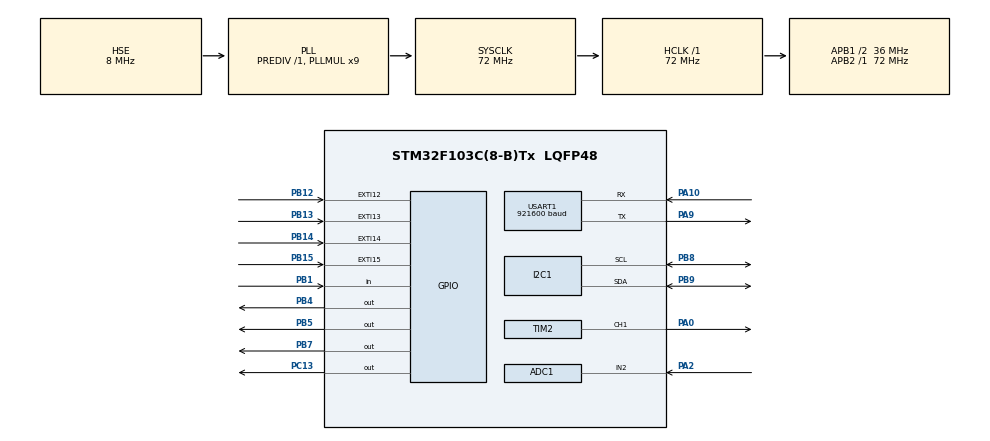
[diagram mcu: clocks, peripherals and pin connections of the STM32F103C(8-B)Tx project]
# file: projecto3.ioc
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ADC1.Channel-2\#ChannelRegularConversion=ADC_CHANNEL_2
ADC1.ContinuousConvMode=DISABLE
ADC1.NbrOfConversionFlag=1
ADC1.Rank-2\#ChannelRegularConversion=1
ADC1.SamplingTime-2\#ChannelRegularConversion=ADC_SAMPLETIME_1CYCLE_5
ADC1.master=1
Dma.Request0=TIM2_CH1
Dma.TIM2_CH1.0.Direction=DMA_MEMORY_TO_PERIPH
Dma.TIM2_CH1.0.Instance=DMA1_Channel5
Dma.TIM2_CH1.0.MemDataAlignment=DMA_MDATAALIGN_HALFWORD
Dma.TIM2_CH1.0.MemInc=DMA_MINC_ENABLE
Dma.TIM2_CH1.0.Mode=DMA_CIRCULAR
Dma.TIM2_CH1.0.PeriphDataAlignment=DMA_PDATAALIGN_HALFWORD
Dma.TIM2_CH1.0.PeriphInc=DMA_PINC_DISABLE
Dma.TIM2_CH1.0.Priority=DMA_PRIORITY_MEDIUM
FREERTOS.Mutexes01=fftRead,Dynamic,NULL,Available;adcSave,Dynamic,NULL,Available
FREERTOS.Queues01=switchesData,5,switch_values_t,0,Dynamic,NULL,NULL
FREERTOS.Tasks01=display,8,203,entryDisplay,Default,NULL,Dynamic,NULL,NULL;fft,24,277,entryDatos,Default,NULL,Dynamic,NULL,NULL
FREERTOS.configTOTAL_HEAP_SIZE=2937
FREERTOS.configUSE_APPLICATION_TASK_TAG=1
FREERTOS.configUSE_IDLE_HOOK=1
FREERTOS.configUSE_NEWLIB_REENTRANT=1
I2C1.I2C_Mode=I2C_Fast
Mcu.Family=STM32F1
Mcu.Name=STM32F103C(8-B)Tx
Mcu.Package=LQFP48
NVIC.DMA1_Channel5_IRQn=true\:5\:0\:false\:false\:true\:true\:false\:true\:true
NVIC.EXTI15_10_IRQn=true\:6\:0\:true\:false\:true\:true\:true\:true\:true
NVIC.PriorityGroup=NVIC_PRIORITYGROUP_4
NVIC.TIM3_IRQn=true\:5\:0\:false\:false\:true\:true\:true\:true\:true
NVIC.TIM4_IRQn=true\:15\:0\:false\:false\:true\:false\:false\:true\:true
NVIC.TimeBase=TIM4_IRQn
NVIC.TimeBaseIP=TIM4
PA0-WKUP.Signal=S_TIM2_CH1_ETR
PA10.Mode=Asynchronous
PA10.Signal=USART1_RX
PA13.Mode=Serial_Wire
PA13.Signal=SYS_JTMS-SWDIO
PA14.Mode=Serial_Wire
PA14.Signal=SYS_JTCK-SWCLK
PA2.Signal=ADCx_IN2
PA9.Mode=Asynchronous
PA9.Signal=USART1_TX
PB1.GPIO_PuPd=GPIO_PULLUP
PB1.Signal=GPIO_Input
PB12.GPIO_ModeDefaultEXTI=GPIO_MODE_IT_RISING_FALLING
PB12.GPIO_PuPd=GPIO_PULLUP
PB12.Signal=GPXTI12
PB13.GPIO_ModeDefaultEXTI=GPIO_MODE_IT_RISING_FALLING
PB13.GPIO_PuPd=GPIO_PULLUP
PB13.Signal=GPXTI13
PB14.GPIO_ModeDefaultEXTI=GPIO_MODE_IT_RISING_FALLING
PB14.GPIO_PuPd=GPIO_PULLUP
PB14.Signal=GPXTI14
PB15.GPIO_ModeDefaultEXTI=GPIO_MODE_IT_RISING_FALLING
PB15.GPIO_PuPd=GPIO_PULLUP
PB15.Signal=GPXTI15
PB4.Signal=GPIO_Output
PB5.Signal=GPIO_Output
PB7.Signal=GPIO_Output
PB8.Mode=I2C
PB8.Signal=I2C1_SCL
PB9.Mode=I2C
PB9.Signal=I2C1_SDA
PC13-TAMPER-RTC.PinState=GPIO_PIN_SET
PC13-TAMPER-RTC.Signal=GPIO_Output
PD0-OSC_IN.Mode=HSE-External-Oscillator
PD0-OSC_IN.Signal=RCC_OSC_IN
PD1-OSC_OUT.Mode=HSE-External-Oscillator
PD1-OSC_OUT.Signal=RCC_OSC_OUT
ProjectManager.HeapSize=0x200
ProjectManager.StackSize=0x400
ProjectManager.TargetToolchain=STM32CubeIDE
RCC.ADCPresc=RCC_ADCPCLK2_DIV6
RCC.AHBFreq_Value=72000000
RCC.APB1CLKDivider=RCC_HCLK_DIV2
RCC.APB1Freq_Value=36000000
RCC.APB1TimFreq_Value=72000000
RCC.APB2Freq_Value=72000000
RCC.APB2TimFreq_Value=72000000
RCC.HCLKFreq_Value=72000000
RCC.PLLMUL=RCC_PLL_MUL9
RCC.PLLSourceVirtual=RCC_PLLSOURCE_HSE
RCC.SYSCLKFreq_VALUE=72000000
RCC.SYSCLKSource=RCC_SYSCLKSOURCE_PLLCLK
RCC.USBFreq_Value=72000000
SH.ADCx_IN2.0=ADC1_IN2,IN2
SH.S_TIM2_CH1_ETR.0=TIM2_CH1,PWM Generation1 CH1
TIM2.AutoReloadPreload=TIM_AUTORELOAD_PRELOAD_ENABLE
TIM2.Channel-PWM\ Generation1\ CH1=TIM_CHANNEL_1
TIM2.Period=2880-1
TIM2.Pulse-PWM\ Generation1\ CH1=10
TIM3.AutoReloadPreload=TIM_AUTORELOAD_PRELOAD_ENABLE
TIM3.Period=999
TIM3.Prescaler=71
USART1.BaudRate=921600
USART1.Mode=MODE_TX
USART1.VirtualMode=VM_ASYNC
VP_FREERTOS_VS_CMSIS_V2.Mode=CMSIS_V2
VP_SYS_VS_tim4.Mode=TIM4
VP_TIM2_VS_ClockSourceINT.Mode=Internal
VP_TIM3_VS_ClockSourceINT.Mode=Internal
board=custom

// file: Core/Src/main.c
/* USER CODE BEGIN Header */
/**
 ******************************************************************************
 * @file           : main.c
 * @brief          : Main program body
 ******************************************************************************
 * @attention
 *
 * Copyright (c) 2024 STMicroelectronics.
 * All rights reserved.
 *
 * This software is licensed under terms that can be found in the LICENSE file
 * in the root directory of this software component.
 * If no LICENSE file comes with this software, it is provided AS-IS.
 *
 ******************************************************************************
 */
/* USER CODE END Header */
#include "main.h"
#include "cmsis_os.h"

/* USER CODE BEGIN Includes */
#include "encoder.h"
#include "math.h"
#include "pwm.h"
#include "fft.h"
#include "fonts.h"
#include "ssd1306.h"
#include "display_analizador.h"
/* USER CODE END Includes */

ADC_HandleTypeDef hadc1;

I2C_HandleTypeDef hi2c1;

TIM_HandleTypeDef htim2;
TIM_HandleTypeDef htim3;
DMA_HandleTypeDef hdma_tim2_ch1;

UART_HandleTypeDef huart1;

/* Definitions for display */
osThreadId_t displayHandle;
const osThreadAttr_t display_attributes = {
  .name = "display",
  .stack_size = 203 * 4,
  .priority = (osPriority_t) osPriorityLow,
};
/* Definitions for fft */
osThreadId_t fftHandle;
const osThreadAttr_t fft_attributes = {
  .name = "fft",
  .stack_size = 277 * 4,
  .priority = (osPriority_t) osPriorityNormal,
};
/* Definitions for switchesData */
osMessageQueueId_t switchesDataHandle;
const osMessageQueueAttr_t switchesData_attributes = {
  .name = "switchesData"
};
/* Definitions for fftRead */
osMutexId_t fftReadHandle;
const osMutexAttr_t fftRead_attributes = {
  .name = "fftRead"
};
/* Definitions for adcSave */
osMutexId_t adcSaveHandle;
const osMutexAttr_t adcSave_attributes = {
  .name = "adcSave"
};
/* USER CODE BEGIN PV */
uint16_t adc_data[256];
uint16_t count = 0;
/* USER CODE END PV */

void SystemClock_Config(void);
static void MX_GPIO_Init(void);
static void MX_DMA_Init(void);
static void MX_TIM2_Init(void);
static void MX_ADC1_Init(void);
static void MX_I2C1_Init(void);
static void MX_TIM3_Init(void);
static void MX_USART1_UART_Init(void);
void entryDisplay(void *argument);
void entryDatos(void *argument);

/* USER CODE BEGIN PFP */
void
AE_callback_in (int);
void
AE_callback_out (int);
/* USER CODE END PFP */

int main(void)
{

  /* MCU Configuration--------------------------------------------------------*/

  /* Reset of all peripherals, Initializes the Flash interface and the Systick. */
  HAL_Init();

  /* Configure the system clock */
  SystemClock_Config();

  /* Initialize all configured peripherals */
  MX_GPIO_Init();
  MX_DMA_Init();
  MX_TIM2_Init();
  MX_ADC1_Init();
  MX_I2C1_Init();
  MX_TIM3_Init();
  MX_USART1_UART_Init();
  /* USER CODE BEGIN 2 */
  SSD1306_Init ();
  PWM_init (&htim2, TIM_CHANNEL_1);

  PWM_change_freq_dma (500, 1);
  switch_values_t temp =
    { AN_inputs_reader ().button_encoder.value,
	AN_inputs_reader ().button_sec.value };
  AN_graph_control (temp, 1);
  SSD1306_UpdateScreen ();
  AN_init (&huart1);
  HAL_GPIO_TogglePin (GPIOC, GPIO_PIN_13);
  AN_send_uart ();
  HAL_GPIO_TogglePin (GPIOC, GPIO_PIN_13);
  /* USER CODE END 2 */

  /* Init scheduler */
  osKernelInitialize();
  /* Create the mutex(es) */
  /* creation of fftRead */
  fftReadHandle = osMutexNew(&fftRead_attributes);

  /* creation of adcSave */
  adcSaveHandle = osMutexNew(&adcSave_attributes);

  /* Create the queue(s) */
  /* creation of switchesData */
  switchesDataHandle = osMessageQueueNew (5, sizeof(switch_values_t), &switchesData_attributes);

  /* Create the thread(s) */
  /* creation of display */
  displayHandle = osThreadNew(entryDisplay, NULL, &display_attributes);

  /* creation of fft */
  fftHandle = osThreadNew(entryDatos, NULL, &fft_attributes);

  /* Start scheduler */
  osKernelStart();

  /* We should never get here as control is now taken by the scheduler */

  /* Infinite loop */
  while (1)
    {

    }
}

void SystemClock_Config(void)
{
  RCC_OscInitTypeDef RCC_OscInitStruct = {0};
  RCC_ClkInitTypeDef RCC_ClkInitStruct = {0};
  RCC_PeriphCLKInitTypeDef PeriphClkInit = {0};

  /** Initializes the RCC Oscillators according to the specified parameters
  * in the RCC_OscInitTypeDef structure.
  */
  RCC_OscInitStruct.OscillatorType = RCC_OSCILLATORTYPE_HSE;
  RCC_OscInitStruct.HSEState = RCC_HSE_ON;
  RCC_OscInitStruct.HSEPredivValue = RCC_HSE_PREDIV_DIV1;
  RCC_OscInitStruct.HSIState = RCC_HSI_ON;
  RCC_OscInitStruct.PLL.PLLState = RCC_PLL_ON;
  RCC_OscInitStruct.PLL.PLLSource = RCC_PLLSOURCE_HSE;
  RCC_OscInitStruct.PLL.PLLMUL = RCC_PLL_MUL9;
  if (HAL_RCC_OscConfig(&RCC_OscInitStruct) != HAL_OK)
  {
    Error_Handler();
  }

  /** Initializes the CPU, AHB and APB buses clocks
  */
  RCC_ClkInitStruct.ClockType = RCC_CLOCKTYPE_HCLK|RCC_CLOCKTYPE_SYSCLK
                              |RCC_CLOCKTYPE_PCLK1|RCC_CLOCKTYPE_PCLK2;
  RCC_ClkInitStruct.SYSCLKSource = RCC_SYSCLKSOURCE_PLLCLK;
  RCC_ClkInitStruct.AHBCLKDivider = RCC_SYSCLK_DIV1;
  RCC_ClkInitStruct.APB1CLKDivider = RCC_HCLK_DIV2;
  RCC_ClkInitStruct.APB2CLKDivider = RCC_HCLK_DIV1;

  if (HAL_RCC_ClockConfig(&RCC_ClkInitStruct, FLASH_LATENCY_2) != HAL_OK)
  {
    Error_Handler();
  }
  PeriphClkInit.PeriphClockSelection = RCC_PERIPHCLK_ADC;
  PeriphClkInit.AdcClockSelection = RCC_ADCPCLK2_DIV6;
  if (HAL_RCCEx_PeriphCLKConfig(&PeriphClkInit) != HAL_OK)
  {
    Error_Handler();
  }
}

static void MX_ADC1_Init(void)
{

  ADC_ChannelConfTypeDef sConfig = {0};

  /** Common config
  */
  hadc1.Instance = ADC1;
  hadc1.Init.ScanConvMode = ADC_SCAN_DISABLE;
  hadc1.Init.ContinuousConvMode = DISABLE;
  hadc1.Init.DiscontinuousConvMode = DISABLE;
  hadc1.Init.ExternalTrigConv = ADC_SOFTWARE_START;
  hadc1.Init.DataAlign = ADC_DATAALIGN_RIGHT;
  hadc1.Init.NbrOfConversion = 1;
  if (HAL_ADC_Init(&hadc1) != HAL_OK)
  {
    Error_Handler();
  }

  /** Configure Regular Channel
  */
  sConfig.Channel = ADC_CHANNEL_2;
  sConfig.Rank = ADC_REGULAR_RANK_1;
  sConfig.SamplingTime = ADC_SAMPLETIME_1CYCLE_5;
  if (HAL_ADC_ConfigChannel(&hadc1, &sConfig) != HAL_OK)
  {
    Error_Handler();
  }

}

static void MX_I2C1_Init(void)
{

  hi2c1.Instance = I2C1;
  hi2c1.Init.ClockSpeed = 400000;
  hi2c1.Init.DutyCycle = I2C_DUTYCYCLE_2;
  hi2c1.Init.OwnAddress1 = 0;
  hi2c1.Init.AddressingMode = I2C_ADDRESSINGMODE_7BIT;
  hi2c1.Init.DualAddressMode = I2C_DUALADDRESS_DISABLE;
  hi2c1.Init.OwnAddress2 = 0;
  hi2c1.Init.GeneralCallMode = I2C_GENERALCALL_DISABLE;
  hi2c1.Init.NoStretchMode = I2C_NOSTRETCH_DISABLE;
  if (HAL_I2C_Init(&hi2c1) != HAL_OK)
  {
    Error_Handler();
  }

}

static void MX_TIM2_Init(void)
{

  TIM_ClockConfigTypeDef sClockSourceConfig = {0};
  TIM_MasterConfigTypeDef sMasterConfig = {0};
  TIM_OC_InitTypeDef sConfigOC = {0};

  htim2.Instance = TIM2;
  htim2.Init.Prescaler = 0;
  htim2.Init.CounterMode = TIM_COUNTERMODE_UP;
  htim2.Init.Period = 2880-1;
  htim2.Init.ClockDivision = TIM_CLOCKDIVISION_DIV1;
  htim2.Init.AutoReloadPreload = TIM_AUTORELOAD_PRELOAD_ENABLE;
  if (HAL_TIM_Base_Init(&htim2) != HAL_OK)
  {
    Error_Handler();
  }
  sClockSourceConfig.ClockSource = TIM_CLOCKSOURCE_INTERNAL;
  if (HAL_TIM_ConfigClockSource(&htim2, &sClockSourceConfig) != HAL_OK)
  {
    Error_Handler();
  }
  if (HAL_TIM_PWM_Init(&htim2) != HAL_OK)
  {
    Error_Handler();
  }
  sMasterConfig.MasterOutputTrigger = TIM_TRGO_RESET;
  sMasterConfig.MasterSlaveMode = TIM_MASTERSLAVEMODE_DISABLE;
  if (HAL_TIMEx_MasterConfigSynchronization(&htim2, &sMasterConfig) != HAL_OK)
  {
    Error_Handler();
  }
  sConfigOC.OCMode = TIM_OCMODE_PWM1;
  sConfigOC.Pulse = 10;
  sConfigOC.OCPolarity = TIM_OCPOLARITY_HIGH;
  sConfigOC.OCFastMode = TIM_OCFAST_DISABLE;
  if (HAL_TIM_PWM_ConfigChannel(&htim2, &sConfigOC, TIM_CHANNEL_1) != HAL_OK)
  {
    Error_Handler();
  }
  HAL_TIM_MspPostInit(&htim2);

}

static void MX_TIM3_Init(void)
{

  TIM_ClockConfigTypeDef sClockSourceConfig = {0};
  TIM_MasterConfigTypeDef sMasterConfig = {0};

  htim3.Instance = TIM3;
  htim3.Init.Prescaler = 71;
  htim3.Init.CounterMode = TIM_COUNTERMODE_UP;
  htim3.Init.Period = 999;
  htim3.Init.ClockDivision = TIM_CLOCKDIVISION_DIV1;
  htim3.Init.AutoReloadPreload = TIM_AUTORELOAD_PRELOAD_ENABLE;
  if (HAL_TIM_Base_Init(&htim3) != HAL_OK)
  {
    Error_Handler();
  }
  sClockSourceConfig.ClockSource = TIM_CLOCKSOURCE_INTERNAL;
  if (HAL_TIM_ConfigClockSource(&htim3, &sClockSourceConfig) != HAL_OK)
  {
    Error_Handler();
  }
  sMasterConfig.MasterOutputTrigger = TIM_TRGO_RESET;
  sMasterConfig.MasterSlaveMode = TIM_MASTERSLAVEMODE_DISABLE;
  if (HAL_TIMEx_MasterConfigSynchronization(&htim3, &sMasterConfig) != HAL_OK)
  {
    Error_Handler();
  }

}

static void MX_USART1_UART_Init(void)
{

  huart1.Instance = USART1;
  huart1.Init.BaudRate = 921600;
  huart1.Init.WordLength = UART_WORDLENGTH_8B;
  huart1.Init.StopBits = UART_STOPBITS_1;
  huart1.Init.Parity = UART_PARITY_NONE;
  huart1.Init.Mode = UART_MODE_TX;
  huart1.Init.HwFlowCtl = UART_HWCONTROL_NONE;
  huart1.Init.OverSampling = UART_OVERSAMPLING_16;
  if (HAL_UART_Init(&huart1) != HAL_OK)
  {
    Error_Handler();
  }

}

static void MX_DMA_Init(void)
{

  /* DMA controller clock enable */
  __HAL_RCC_DMA1_CLK_ENABLE();

  /* DMA interrupt init */
  /* DMA1_Channel5_IRQn interrupt configuration */
  HAL_NVIC_SetPriority(DMA1_Channel5_IRQn, 5, 0);
  HAL_NVIC_EnableIRQ(DMA1_Channel5_IRQn);

}

static void MX_GPIO_Init(void)
{
  GPIO_InitTypeDef GPIO_InitStruct = {0};

  /* GPIO Ports Clock Enable */
  __HAL_RCC_GPIOC_CLK_ENABLE();
  __HAL_RCC_GPIOD_CLK_ENABLE();
  __HAL_RCC_GPIOA_CLK_ENABLE();
  __HAL_RCC_GPIOB_CLK_ENABLE();

  /*Configure GPIO pin Output Level */
  HAL_GPIO_WritePin(GPIOC, GPIO_PIN_13, GPIO_PIN_SET);

  /*Configure GPIO pin Output Level */
  HAL_GPIO_WritePin(GPIOB, GPIO_PIN_4|GPIO_PIN_5|GPIO_PIN_7, GPIO_PIN_RESET);

  /*Configure GPIO pin : PC13 */
  GPIO_InitStruct.Pin = GPIO_PIN_13;
  GPIO_InitStruct.Mode = GPIO_MODE_OUTPUT_PP;
  GPIO_InitStruct.Pull = GPIO_NOPULL;
  GPIO_InitStruct.Speed = GPIO_SPEED_FREQ_LOW;
  HAL_GPIO_Init(GPIOC, &GPIO_InitStruct);

  /*Configure GPIO pin : PB1 */
  GPIO_InitStruct.Pin = GPIO_PIN_1;
  GPIO_InitStruct.Mode = GPIO_MODE_INPUT;
  GPIO_InitStruct.Pull = GPIO_PULLUP;
  HAL_GPIO_Init(GPIOB, &GPIO_InitStruct);

  /*Configure GPIO pins : PB12 PB13 PB14 PB15 */
  GPIO_InitStruct.Pin = GPIO_PIN_12|GPIO_PIN_13|GPIO_PIN_14|GPIO_PIN_15;
  GPIO_InitStruct.Mode = GPIO_MODE_IT_RISING_FALLING;
  GPIO_InitStruct.Pull = GPIO_PULLUP;
  HAL_GPIO_Init(GPIOB, &GPIO_InitStruct);

  /*Configure GPIO pins : PB4 PB5 PB7 */
  GPIO_InitStruct.Pin = GPIO_PIN_4|GPIO_PIN_5|GPIO_PIN_7;
  GPIO_InitStruct.Mode = GPIO_MODE_OUTPUT_PP;
  GPIO_InitStruct.Pull = GPIO_NOPULL;
  GPIO_InitStruct.Speed = GPIO_SPEED_FREQ_LOW;
  HAL_GPIO_Init(GPIOB, &GPIO_InitStruct);

  /* EXTI interrupt init*/
  HAL_NVIC_SetPriority(EXTI15_10_IRQn, 6, 0);
  HAL_NVIC_EnableIRQ(EXTI15_10_IRQn);

}

/* USER CODE BEGIN 4 */
void
AE_callback_in (int tag)
{
  switch (tag)
    {
    case TAG_IDLE:
      HAL_GPIO_WritePin (GPIOB, GPIO_PIN_4, GPIO_PIN_SET);
      break;
    case TAG_MONITOR:
      HAL_GPIO_WritePin (GPIOB, GPIO_PIN_5, GPIO_PIN_SET);
      break;
    case TAG_PROCESO:
      HAL_GPIO_WritePin (GPIOB, GPIO_PIN_7, GPIO_PIN_SET);
      break;
    }
}
void
AE_callback_out (int tag)
{
  switch (tag)
    {
    case TAG_IDLE:
      HAL_GPIO_WritePin (GPIOB, GPIO_PIN_4, GPIO_PIN_RESET);
      break;
    case TAG_MONITOR:
      HAL_GPIO_WritePin (GPIOB, GPIO_PIN_5, GPIO_PIN_RESET);
      break;
    case TAG_PROCESO:
      HAL_GPIO_WritePin (GPIOB, GPIO_PIN_7, GPIO_PIN_RESET);
      break;
    }
}

void
HAL_GPIO_EXTI_Callback (uint16_t GPIO_Pin)
{
  if (GPIO_Pin == GPIO_PIN_13 || GPIO_Pin == GPIO_PIN_14)
    {
      AN_encoder_setter ();
    }
}
/* USER CODE END 4 */

void entryDisplay(void *argument)
{
  /* USER CODE BEGIN 5 */
  vTaskSetApplicationTaskTag (NULL, (void*) TAG_MONITOR);
  TickType_t lastWakeTime = xTaskGetTickCount ();
  inputs_t input_old = AN_inputs_reader ();
  display_state_t display_state = fft_pre_off;
  display_event_t display_event = off_stay;
  config_disp_t disp_state;
  osMutexAcquire (adcSaveHandle, portMAX_DELAY);
  //AN_send_uart ();
  /* Infinite loop */
  for (;;)
    {
      inputs_t input_temp = AN_inputs_reader ();
      switch_values_t switches_vec[5];
      switches_vec[0].encoder = input_temp.button_encoder.value;
      switches_vec[0].second = input_temp.button_sec.value;
      uint16_t messages = osMessageQueueGetCount (switchesDataHandle);
      uint8_t update_fft = AN_config_reader ().fft_pass;
      int16_t diff = input_temp.encoder.position != input_old.encoder.position;
      uint8_t update_screen = 0, update_pwm = 0, send_fft = 0;

      if (messages != 0)
	{
	  for (int i = 0; i < messages; i++)
	    {
	      osMessageQueueGet (switchesDataHandle, &switches_vec[i], NULL,
	      osWaitForever);
	    }
	}

      input_old = AN_inputs_reader ();

      switch (switches_vec[0].second)
	{
	case on:
	  display_event = on_stay;
	  if (diff != 0 || messages != 0 || update_fft == 1)
	    {
	      update_screen = 1;
	      display_event = on_update;
	    }
	  break;
	case off:
	  display_event = off_stay;
	  if (diff != 0 || messages != 0 || update_fft == 1)
	    {
	      update_screen = 1;
	      display_event = off_update;
	    }
	  break;
	}

      if (messages != 0)
	messages--;
      if (update_fft == 1)
	AN_fft_update_setter ();

      do
	{
	  switch (display_state)
	    {
	    case config:
	      switch (display_event)
		{
		case off_update:
		  AN_graph_control (switches_vec[messages], 0);
		  if (AN_config_reader ().update_pwm == 1)
		    update_pwm = 1;
		  if (AN_config_reader ().fft_pass == 1)
		    send_fft = 1;
		  break;
		case on_update:
		case on_stay:
		  AN_graph_control (switches_vec[messages], 0);
		  if (AN_config_reader ().update_pwm == 1)
		    update_pwm = 1;
		  if (AN_config_reader ().fft_pass == 1)
		    send_fft = 1;
		  display_state = config_pre_off;
		  break;
		}
	      break;
	    case config_pre_off:
	      switch (display_event)
		{
		case on_update:
		  break;
		case off_update:
		case off_stay:
		  display_state = fft;
		  AN_graph_fft (input_temp.encoder.position % 128);
		  if (AN_config_reader ().update_pwm == 1)
		    update_pwm = 1;
		  HAL_TIM_Base_Start_IT (&htim3);
		  osMutexRelease (adcSaveHandle);
		  update_screen = 1;
		  break;
		}
	      break;
	    case fft:
	      osMutexAcquire (fftReadHandle, portMAX_DELAY);
	      switch (display_event)
		{
		case off_stay:
		  break;
		case off_update:
		  AN_graph_fft (input_temp.encoder.position % 128);
		  if (AN_config_reader ().update_pwm == 1)
		    update_pwm = 1;
		  update_screen = 1;
		  break;
		case on_stay:
		case on_update:
		  display_state = fft_pre_off;
		  osMutexAcquire (adcSaveHandle, portMAX_DELAY);
		  HAL_TIM_Base_Stop_IT (&htim3);
		  break;
		}
	      break;
	    case fft_pre_off:
	      switch (display_event)
		{
		case on_update:
		  break;
		case off_stay:
		case off_update:
		  AN_graph_control (switches_vec[messages], 1);
		  update_pwm = 1;
		  display_state = config;
		  break;
		}
	      break;
	    }
	}
      while (0 > --messages);

      if (send_fft == 1)
	{

	}
      if (update_pwm == 1)
	{
	  disp_state = AN_config_reader ();
	  PWM_change_freq_dma (disp_state.pwm_state.freq,
			       disp_state.pwm_state.amp / (float) 33);
	}
      if (update_screen == 1)
	SSD1306_UpdateScreen ();

      osMutexRelease (fftReadHandle);
      osDelay (pdMS_TO_TICKS(50));
      //vTaskDelayUntil (&lastWakeTime, pdMS_TO_TICKS(80));
    }

  /* USER CODE END 5 */
}

void entryDatos(void *argument)
{
  /* USER CODE BEGIN entryDatos */
  vTaskSetApplicationTaskTag (NULL, (void*) TAG_PROCESO);

  /* Infinite loop */
  for (;;)
    {
      osMutexAcquire (adcSaveHandle, portMAX_DELAY);
      if (count == 255)
	{
	  osMutexAcquire (fftReadHandle, portMAX_DELAY);
	  HAL_TIM_Base_Stop_IT (&htim3);
	  AN_fft_fast (adc_data, 256);
	  AN_fft_update_setter ();
	  HAL_TIM_Base_Start_IT (&htim3);
	  osMutexRelease (fftReadHandle);
	  count = 0;
	}
      osMutexRelease (adcSaveHandle);
      osDelay (64);
    }
  /* USER CODE END entryDatos */
}

void HAL_TIM_PeriodElapsedCallback(TIM_HandleTypeDef *htim)
{
  if (htim->Instance == TIM4) {
    HAL_IncTick();
  }
  /* USER CODE BEGIN Callback 1 */
  if (htim->Instance == TIM4)
    {
      if (AN_button_setter () == 1)
	{
	  inputs_t input_temp = AN_inputs_reader ();
	  switch_values_t switches_temp;
	  switches_temp.encoder = input_temp.button_encoder.value;
	  switches_temp.second = input_temp.button_sec.value;
	  osMessageQueuePut (switchesDataHandle, &switches_temp, NULL, 0);
	}
    }

  if (htim->Instance == TIM3)
    {
      HAL_ADC_Start_IT (&hadc1);
      if (count < 255)
	{
	  adc_data[count] = HAL_ADC_GetValue (&hadc1);
	  count++;
	}
      HAL_ADC_Stop_IT (&hadc1);
    }
  /* USER CODE END Callback 1 */
}

void Error_Handler(void)
{
  /* USER CODE BEGIN Error_Handler_Debug */
  /* User can add his own implementation to report the HAL error return state */
  __disable_irq ();
  while (1)
    {

    }
  /* USER CODE END Error_Handler_Debug */
}

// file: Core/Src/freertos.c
/* USER CODE BEGIN Header */
/**
  ******************************************************************************
  * File Name          : freertos.c
  * Description        : Code for freertos applications
  ******************************************************************************
  * @attention
  *
  * Copyright (c) 2024 STMicroelectronics.
  * All rights reserved.
  *
  * This software is licensed under terms that can be found in the LICENSE file
  * in the root directory of this software component.
  * If no LICENSE file comes with this software, it is provided AS-IS.
  *
  ******************************************************************************
  */
/* USER CODE END Header */

#include "FreeRTOS.h"
#include "task.h"
#include "main.h"

/* Hook prototypes */
void vApplicationIdleHook(void);

/* USER CODE BEGIN 2 */
void vApplicationIdleHook( void )
{
   /* vApplicationIdleHook() will only be called if configUSE_IDLE_HOOK is set
   to 1 in FreeRTOSConfig.h. It will be called on each iteration of the idle
   task. It is essential that code added to this hook function never attempts
   to block in any way (for example, call xQueueReceive() with a block time
   specified, or call vTaskDelay()). If the application makes use of the
   vTaskDelete() API function (as this demo application does) then it is also
   important that vApplicationIdleHook() is permitted to return to its calling
   function, because it is the responsibility of the idle task to clean up
   memory allocated by the kernel to any task that has since been deleted. */
  vTaskSetApplicationTaskTag(NULL, (void *) TAG_IDLE);
}
/* USER CODE END 2 */
